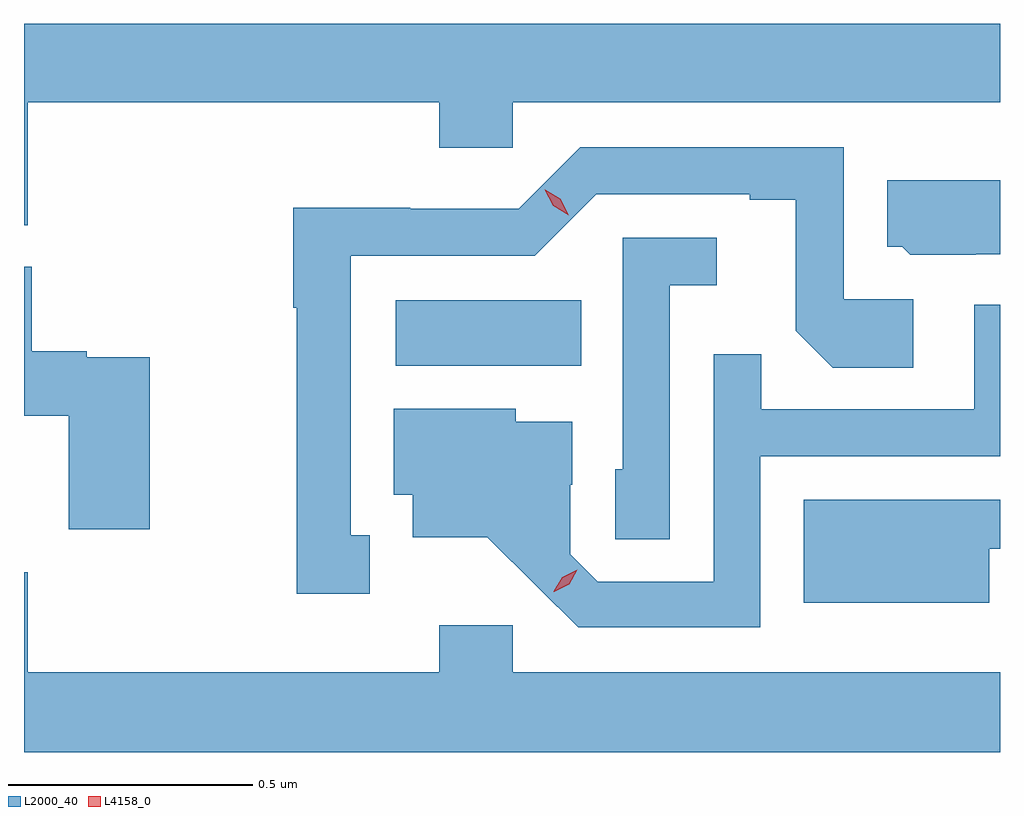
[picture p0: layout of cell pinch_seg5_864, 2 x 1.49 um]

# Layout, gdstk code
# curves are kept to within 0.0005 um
import gdstk
lib = gdstk.Library(unit=1e-6, precision=1e-09)
def R(c, l, rs):  # rectangles x0, y0, x1, y1
    for r in rs: c.add(gdstk.rectangle(r[:2], r[2:], *l))
def P(c, l, *ps):  # polygons
    for p in ps: c.add(gdstk.Polygon(p, *l))
L2000_40 = (2000, 40)
L4158_0 = (4158, 0)

pinch_seg5_864 = lib.new_cell('pinch_seg5_864')
R(pinch_seg5_864, L2000_40, [(802.266,893.516,802.646,893.65)])
P(pinch_seg5_864, L2000_40, [(801.512,894.056),(802.355,894.056),(802.355,893.963),(802.506,893.963),(802.506,894.056),(803.504,894.056),(803.504,894.217),(801.504,894.217),(801.504,893.804),(801.512,893.804)],
  [(802.213,893.169),(802.174,893.169),(802.174,893.742),(802.551,893.742),(802.677,893.868),(802.991,893.868),(802.991,893.856),(803.085,893.856),(803.085,893.588),(803.161,893.512),(803.326,893.512),(803.326,893.652),(803.184,893.652),(803.184,893.964),(802.644,893.964),(802.518,893.838),(802.296,893.838),(802.296,893.84),(802.056,893.84),(802.056,893.635),(802.063,893.635),(802.063,893.049),(802.213,893.049)],
  [(803.454,893.745),(803.504,893.745),(803.504,893.896),(803.273,893.896),(803.273,893.76),(803.304,893.76),(803.32,893.744),(803.454,893.744)],
  [(802.827,893.681),(802.924,893.681),(802.924,893.778),(802.731,893.778),(802.731,893.304),(802.716,893.304),(802.716,893.161),(802.827,893.161)],
  [(801.762,893.533),(801.633,893.533),(801.633,893.546),(801.52,893.546),(801.52,893.719),(801.504,893.719),(801.504,893.414),(801.596,893.414),(801.596,893.181),(801.762,893.181)],
  [(803.013,893.331),(803.504,893.331),(803.504,893.641),(803.451,893.641),(803.451,893.427),(803.015,893.427),(803.015,893.54),(802.917,893.54),(802.917,893.073),(802.68,893.073),(802.623,893.13),(802.623,893.272),(802.627,893.272),(802.627,893.401),(802.512,893.401),(802.512,893.428),(802.262,893.428),(802.262,893.252),(802.301,893.252),(802.301,893.165),(802.453,893.165),(802.64,892.98),(803.013,892.98)],
  [(803.482,893.141),(803.504,893.141),(803.504,893.242),(803.102,893.242),(803.102,893.03),(803.482,893.03)],
  [(803.504,892.888),(802.506,892.888),(802.506,892.984),(802.355,892.984),(802.355,892.888),(801.512,892.888),(801.512,893.093),(801.504,893.093),(801.504,892.724),(803.504,892.724)])
P(pinch_seg5_864, L4158_0, [(802.59,893.053),(802.59,893.054),(802.607,893.083),(802.638,893.098),(802.638,893.098),(802.638,893.098),(802.621,893.068),(802.591,893.053)],
  [(802.62,893.825),(802.589,893.844),(802.571,893.877),(802.571,893.877),(802.572,893.877),(802.603,893.858),(802.62,893.825),(802.62,893.825)])

lib.write_gds('pinch_seg5_864.gds')
